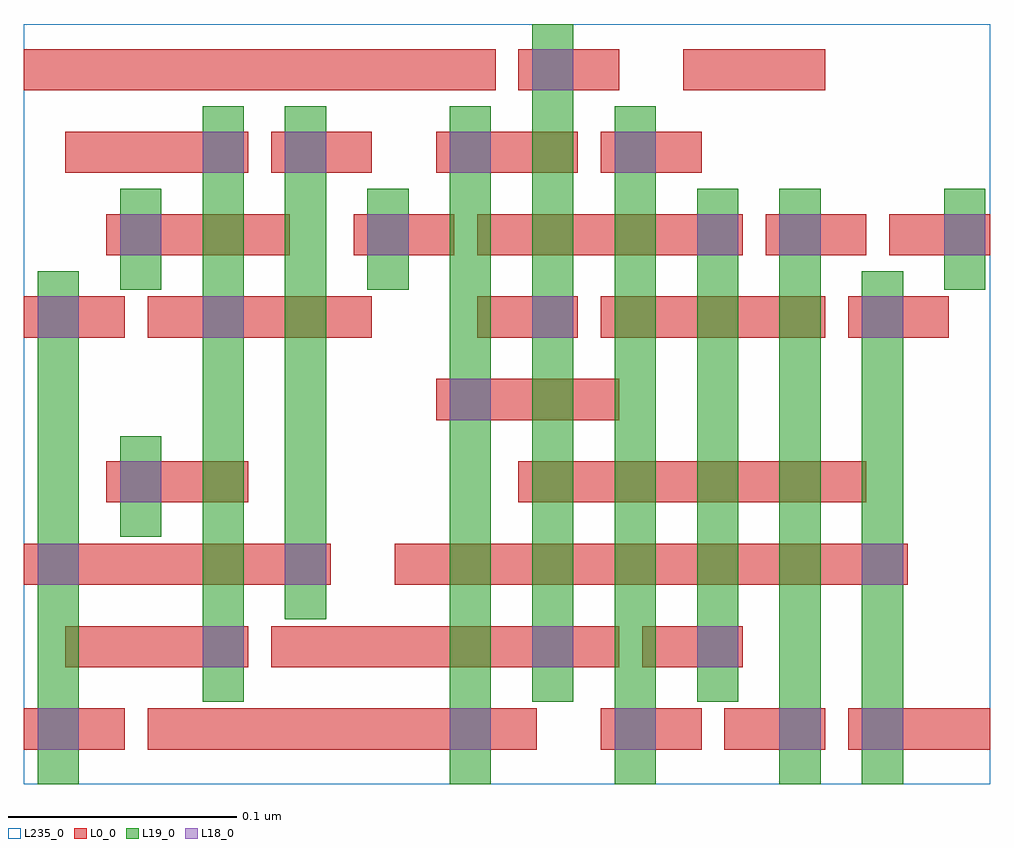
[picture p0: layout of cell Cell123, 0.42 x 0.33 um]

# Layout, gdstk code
import gdstk
lib = gdstk.Library(unit=1e-6, precision=2.5e-10)
def R(c, l, rs):  # rectangles x0, y0, x1, y1
    for r in rs: c.add(gdstk.rectangle(r[:2], r[2:], *l))
def A(c, l, x, y, w, h, nx, ny, dx, dy):  # array of equal rectangles
    R(c, l, [(x+i*dx, y+j*dy, x+i*dx+w, y+j*dy+h) for i in range(nx) for j in range(ny)])
L0_0 = (0, 0)
L18_0 = (18, 0)
L19_0 = (19, 0)
L235_0 = (235, 0)

cell123 = lib.new_cell('Cell123')
R(cell123, L0_0, [(0.004,-0.001,0.048,0.017), (0.058,-0.001,0.228,0.017), (0.256,-0.001,0.3,0.017), (0.31,-0.001,0.354,0.017), (0.364,-0.001,0.426,0.017), (0.022,0.035,0.102,0.053), (0.112,0.035,0.264,0.053), (0.274,0.035,0.318,0.053), (0.004,0.071,0.138,0.089), (0.166,0.071,0.39,0.089), (0.04,0.107,0.102,0.125), (0.22,0.107,0.372,0.125), (0.184,0.143,0.264,0.161), (0.004,0.179,0.048,0.197), (0.058,0.179,0.156,0.197), (0.202,0.179,0.246,0.197), (0.256,0.179,0.354,0.197), (0.364,0.179,0.408,0.197), (0.04,0.215,0.12,0.233), (0.148,0.215,0.192,0.233), (0.202,0.215,0.318,0.233), (0.328,0.215,0.372,0.233), (0.382,0.215,0.426,0.233), (0.022,0.251,0.102,0.269), (0.112,0.251,0.156,0.269), (0.184,0.251,0.246,0.269), (0.256,0.251,0.3,0.269), (0.004,0.287,0.21,0.305), (0.22,0.287,0.264,0.305), (0.292,0.287,0.354,0.305)])
A(cell123, L18_0, 0.19, -0.001, 0.018, 0.018, 3, 1, 0.072, 0)
A(cell123, L18_0, 0.082, 0.179, 0.018, 0.018, 3, 1, 0.144, 0)
A(cell123, L18_0, 0.118, 0.251, 0.018, 0.018, 3, 1, 0.072, 0)
R(cell123, L18_0, [(0.01,-0.001,0.028,0.017), (0.37,-0.001,0.388,0.017), (0.082,0.035,0.1,0.053), (0.226,0.035,0.244,0.053), (0.298,0.035,0.316,0.053), (0.01,0.071,0.028,0.089), (0.118,0.071,0.136,0.089), (0.37,0.071,0.388,0.089), (0.046,0.107,0.064,0.125), (0.19,0.143,0.208,0.161), (0.01,0.179,0.028,0.197), (0.046,0.215,0.064,0.233), (0.154,0.215,0.172,0.233), (0.298,0.215,0.316,0.233), (0.334,0.215,0.352,0.233), (0.406,0.215,0.424,0.233), (0.082,0.251,0.1,0.269), (0.226,0.287,0.244,0.305)])
R(cell123, L19_0, [(0.01,-0.016,0.028,0.208), (0.19,-0.016,0.208,0.28), (0.262,-0.016,0.28,0.28), (0.334,-0.016,0.352,0.244), (0.37,-0.016,0.388,0.208), (0.082,0.02,0.1,0.28), (0.226,0.02,0.244,0.316), (0.298,0.02,0.316,0.244), (0.118,0.056,0.136,0.28), (0.046,0.092,0.064,0.136), (0.046,0.2,0.064,0.244), (0.154,0.2,0.172,0.244), (0.406,0.2,0.424,0.244)])
R(cell123, L235_0, [(0.004,-0.016,0.426,0.316)])

lib.write_gds('Cell123.gds')
